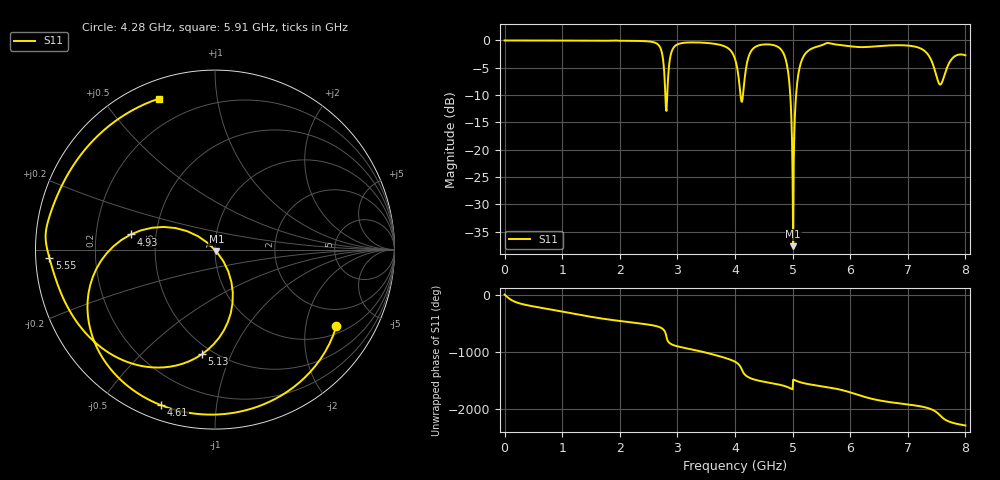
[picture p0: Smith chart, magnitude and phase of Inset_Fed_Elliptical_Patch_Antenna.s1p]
! Touchstone file exported from HFSS 2024.2.0
!  File:  C:/00_Asenjo/00_Project/Ketupa/simulation/Ansys_HFSS/HFSS_Projects/Inset_Fed_Elliptical_Patch_Antenna.aedt
!  Generated:  09:40:36 PM Jul 14, 2025
!  Design:  Elliptical_Patch_Antenna
!  Project:  Inset_Fed_Elliptical_Patch_Antenna
!  Setup:  Setup1
!  Solution:  Sweep
! Variables:
!  Airbox_dist = 40.7881mm
!  FeedLength = 32.823mm
!  FeedWidth = 3.959mm
!  InsetDistance = 11.05mm
!  InsetGap = 1.979mm
!  VirtualObject_dist = 12.2364mm
!  patchX = 43.29mm
!  patchY = 34.82mm
!  subH = 62mil
!  subX = 74.4mm
!  subY = 105.49mm
# GHz S MA R 50.000000
! Terminal data exported
! Port[1] = patch_T1
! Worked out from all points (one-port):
!   951 points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, 1 Hz to 8 GHz, reference 50 ohm
!   lowest |S11| = -37.7 dB at 5.01 GHz (marker M1), VSWR 1.03, Z = 50.8 - j1.06 ohm
!   |S11| at or under -10 dB: 2.791 GHz to 2.824 GHz (32.73 MHz wide, 1.17 % of centre); 4.096 GHz to 4.139 GHz (42.81 MHz wide, 1.04 % of centre); 4.959 GHz to 5.06 GHz (101.1 MHz wide, 2.02 % of centre)
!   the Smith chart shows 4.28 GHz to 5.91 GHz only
!   S11 on the Smith chart (normalised r, x): 4.28 GHz: 1.27, -2.98; 4.61 GHz: 0.06, -0.71; 4.93 GHz: 0.36, +0.08; 5.13 GHz: 0.44, -0.78; 5.55 GHz: 0.04, -0.02; 5.91 GHz: 0.08, +0.69
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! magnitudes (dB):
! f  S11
! 1 Hz  0.0
! 1.01 GHz  0.0
! 2.01 GHz  -0.1
! 2.66 GHz  -0.7
! 2.73 GHz  -2.2
! 2.81 GHz  -12.9
! 2.9 GHz  -2.0
! 3.01 GHz  -0.7
! 3.77 GHz  -0.9
! 4.01 GHz  -3.7
! 4.12 GHz  -11.2
! 4.28 GHz  -2.0
! 4.61 GHz  -0.7
! 4.83 GHz  -2.1
! 4.93 GHz  -6.4
! 4.98 GHz  -14.6
! 5.01 GHz  -37.7
! 5.04 GHz  -13.9
! 5.08 GHz  -7.7
! 5.13 GHz  -4.6
! 5.55 GHz  -0.7
! 5.91 GHz  -0.9
! 6.01 GHz  -1.1
! 7.01 GHz  -0.9
! 7.33 GHz  -2.3
! 7.56 GHz  -8.1
! 7.77 GHz  -3.3
! 8 GHz  -2.7
